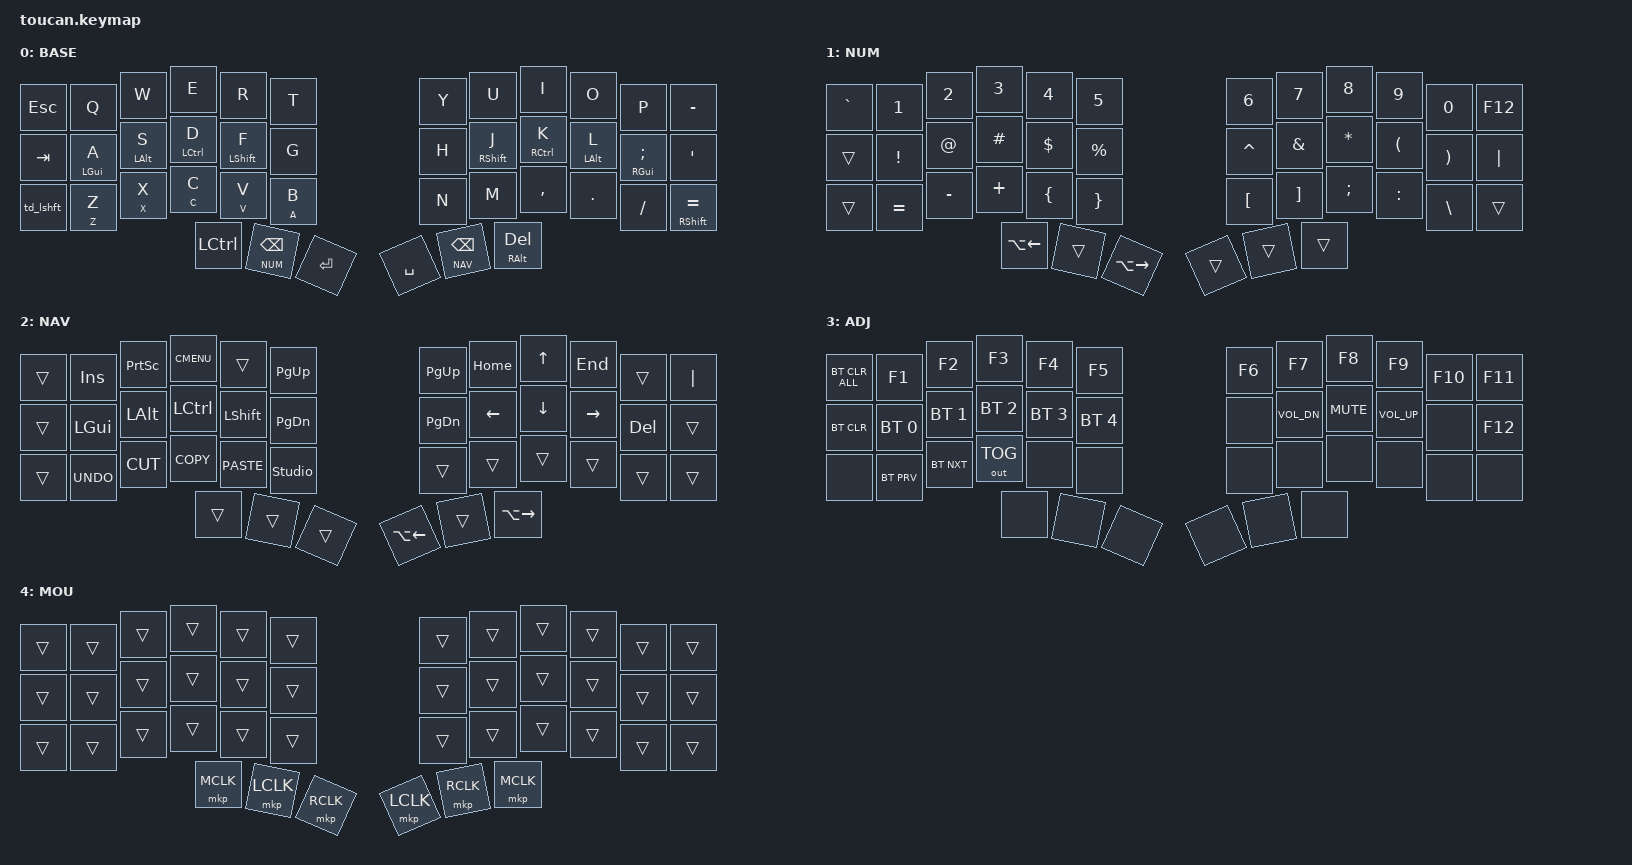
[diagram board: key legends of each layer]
#include <behaviors.dtsi>
#include <dt-bindings/zmk/keys.h>
#include <dt-bindings/zmk/bt.h>
#include <dt-bindings/zmk/outputs.h>
#include <dt-bindings/zmk/pointing.h>

#define BASE 0
#define NUM  1
#define NAV  2
#define ADJ  3

// Layer-tap: tap-then-hold within quick-tap repeats the tap key (BSPC on NUM and NAV) instead of holding the layer.
// Hold 170 ms (default 200) to activate NUM / NAV.
&lt {
    tapping-term-ms = <170>;
    quick-tap-ms = <175>;
};

/ {
    behaviors {
        td_lshft: tap_dance_left_shift {
            compatible = "zmk,behavior-tap-dance";
            #binding-cells = <0>;
            tapping-term-ms = <220>;
            bindings = <&kp LSHFT>, <&caps_word>;
        };

        // Right outer thumb: tap = DEL, hold = RALT.
        // Balanced: press+release another key while holding = modifier immediately (RALT+A = ą, Ctrl+C),
        // so fast AltGr / Ctrl shortcuts never turn into Delete.
        mt_bal: mod_tap_balanced {
            compatible = "zmk,behavior-hold-tap";
            #binding-cells = <2>;
            flavor = "balanced";
            tapping-term-ms = <200>;
            quick-tap-ms = <175>;   // tap, then hold = repeating DEL
            bindings = <&kp>, <&kp>;
        };

        // Home-row mods. Same timing as before; the only addition is the opposite-hand rule:
        // pressing a same-hand key before tapping-term resolves the HRM as a letter (no misfires on rolls).
        // Holding past tapping-term still gives the mod with any key (e.g. D + V = Ctrl+V).
        hml: homerow_mods_left {
            compatible = "zmk,behavior-hold-tap";
            #binding-cells = <2>;
            flavor = "tap-preferred";
            tapping-term-ms = <270>;
            quick-tap-ms = <175>;
            require-prior-idle-ms = <70>;
            // right hand + all thumbs
            hold-trigger-key-positions = <6 7 8 9 10 11 18 19 20 21 22 23 30 31 32 33 34 35 36 37 38 39 40 41>;
            bindings = <&kp>, <&kp>;
        };

        hmr: homerow_mods_right {
            compatible = "zmk,behavior-hold-tap";
            #binding-cells = <2>;
            flavor = "tap-preferred";
            tapping-term-ms = <270>;
            quick-tap-ms = <175>;
            require-prior-idle-ms = <70>;
            // left hand + all thumbs
            hold-trigger-key-positions = <0 1 2 3 4 5 12 13 14 15 16 17 24 25 26 27 28 29 36 37 38 39 40 41>;
            bindings = <&kp>, <&kp>;
        };

        // Sends Ctrl+<key> exactly once (no OS key-repeat while the key stays held).
        // macOS: replace LCTRL with LGUI.
        ctrl_tap: ctrl_tap {
            compatible = "zmk,behavior-macro-one-param";
            #binding-cells = <1>;
            bindings
                = <&macro_press &kp LCTRL>
                , <&macro_param_1to1>
                , <&macro_tap &kp MACRO_PLACEHOLDER>
                , <&macro_release &kp LCTRL>;
        };

        // tap = letter, hold 300 ms = Ctrl+key (RFC-0006).
        // Usage: &hctl <key sent with Ctrl on hold> <key typed on tap>
        hctl: hold_ctrl {
            compatible = "zmk,behavior-hold-tap";
            #binding-cells = <2>;
            flavor = "tap-preferred";      // Ctrl only after the full hold time; fast typing never triggers it
            tapping-term-ms = <300>;       // hold this long for Ctrl+key
            quick-tap-ms = <175>;          // tap, then tap-and-hold = letter repeats
            require-prior-idle-ms = <125>; // pressed right after another key = always the letter
            bindings = <&ctrl_tap>, <&kp>;
        };
    };

    // Combos carried over from the Sofle (positions: row 0 = 0..11, row 1 = 12..23, row 2 = 24..35, thumbs = 36..41)
    combos {
        compatible = "zmk,combos";
        // Backspace: P + -  (same keys as on the Sofle)
        combo_bspc {
            timeout-ms = <50>;
            key-positions = <10 11>;
            require-prior-idle-ms = <150>;   // don't fire mid-word (e.g. "top-level")
            layers = <BASE>;
            bindings = <&kp BSPC>;
        };
        // (Sofle ESC combo removed: position 0 is already ESC on the Toucan.)
    };

    conditional_layers {
        compatible = "zmk,conditional-layers";
        tri_layer {
            if-layers = <1 2>;
            then-layer = <3>;
        };
    };

    keymap {
        compatible = "zmk,keymap";

        base {
            display-name = "BASE";
            // Sofle MAIN layer without the number row / inner keys / outer thumbs.
            // | ESC   |  Q    |  W    |  E    |  R    |  T  |   |  Y    |  U    |  I    |  O    |  P    |  -        |
            // | TAB   | gui/A | alt/S | ctl/D | sft/F |  G  |   |  H    | sft/J | ctl/K | alt/L | gui/; |  '        |
            // | SHIFT |  Z    |  X    |  C    |  V    |  B  |   |  N    |  M    |  ,    |  .    |  /    | =/SHIFT   |
            //                       | CTRL  |NUM/BK | RET |   | SPACE |NAV/BK |RALT/DEL|
            // SHIFT: tap-dance, double tap = CAPS WORD.   Combo: P + - = BSPC
            // Hold Z/X/C/V/B 300 ms = Ctrl+Z / Ctrl+X / Ctrl+C / Ctrl+V / Ctrl+A (sent once).
            bindings = <
                &kp ESC   &kp Q       &kp W       &kp E        &kp R        &kp T     &kp Y     &kp U        &kp I        &kp O       &kp P          &kp MINUS
                &kp TAB   &hml LGUI A &hml LALT S &hml LCTRL D &hml LSHFT F &kp G     &kp H     &hmr RSHFT J &hmr RCTRL K &hmr LALT L &hmr RGUI SEMI &kp SQT
                &td_lshft &hctl Z Z   &hctl X X   &hctl C C    &hctl V V    &hctl A B &kp N     &kp M        &kp COMMA    &kp DOT     &kp FSLH       &mt RSHFT EQUAL
                                                  &kp LCTRL &lt NUM BSPC &kp RET &kp SPACE &lt NAV BSPC &mt_bal RALT DEL
            >;
        };

        num {
            display-name = "NUM";
            // Sofle NUM layer (left thumb), F-key row skipped.
            // |   `   |  1  |  2  |  3  |  4  |  5  |   |  6  |  7  |  8  |  9  |  0  | F12 |
            // |       |  !  |  @  |  #  |  $  |  %  |   |  ^  |  &  |  *  |  (  |  )  |  |  |
            // |       |  =  |  -  |  +  |  {  |  }  |   |  [  |  ]  |  ;  |  :  |  \  |     |
            //               | A(<-) |     | A(->) |   |     |     |     |
            bindings = <
                &kp GRAVE &kp N1    &kp N2    &kp N3       &kp N4    &kp N5          &kp N6    &kp N7   &kp N8    &kp N9    &kp N0   &kp F12
                &trans    &kp EXCL  &kp AT    &kp HASH     &kp DLLR  &kp PRCNT       &kp CARET &kp AMPS &kp ASTRK &kp LPAR  &kp RPAR &kp PIPE
                &trans    &kp EQUAL &kp MINUS &kp PLUS     &kp LBRC  &kp RBRC        &kp LBKT  &kp RBKT &kp SEMI  &kp COLON &kp BSLH &trans
                                                &kp LA(LEFT) &trans    &kp LA(RIGHT)   &trans    &trans   &trans
            >;
        };

        nav {
            display-name = "NAV";
            // Sofle NAV layer (right thumb, tap = BSPC), BT/media row skipped (BT + media moved to ADJ).
            // |       | INS  | PSCR | MENU  |       | PGUP   |   | PGUP | HOME  |  UP  |  END  |      |   |   |
            // |       | GUI  | ALT  | CTRL  | SHIFT | PGDN   |   | PGDN | LEFT  | DOWN | RIGHT | DEL  |       |
            // |       | UNDO | CUT  | COPY  | PASTE | UNLOCK |   |      |       |      |       |      |       |
            //                       |       |       |        |   | A(<-)|       | A(->)|
            bindings = <
                &trans &kp INS    &kp PSCRN &kp K_CMENU &trans      &kp PG_UP         &kp PG_UP    &kp HOME &kp UP        &kp END   &trans  &kp PIPE
                &trans &kp LGUI   &kp LALT  &kp LCTRL   &kp LSHFT   &kp PG_DN         &kp PG_DN    &kp LEFT &kp DOWN      &kp RIGHT &kp DEL &trans
                &trans &kp K_UNDO &kp K_CUT &kp K_COPY  &kp K_PASTE &studio_unlock    &trans       &trans   &trans        &trans    &trans  &trans
                                            &trans      &trans      &trans            &kp LA(LEFT) &trans   &kp LA(RIGHT)
            >;
        };

        adj {
            display-name = "ADJ";
            // Hold NUM + NAV.
            // |CLALL| F1  | F2  | F3  | F4  | F5  |   | F6  | F7  | F8  | F9  | F10 | F11 |
            // |BTCLR| BT0 | BT1 | BT2 | BT3 | BT4 |   |     |VOL- |MUTE |VOL+ |     | F12 |
            // |     |BTPRV|BTNXT|USB/BT|    |     |   |     |     |     |     |     |     |
            //                   |     |     |     |   |     |     |     |
            bindings = <
                &bt BT_CLR_ALL &kp F1     &kp F2       &kp F3       &kp F4       &kp F5         &kp F6 &kp F7 &kp F8 &kp F9 &kp F10 &kp F11
                &bt BT_CLR &bt BT_SEL 0 &bt BT_SEL 1 &bt BT_SEL 2 &bt BT_SEL 3 &bt BT_SEL 4   &none  &kp C_VOL_DN &kp C_MUTE &kp C_VOL_UP &none   &kp F12
            &none &bt BT_PRV &bt BT_NXT &out OUT_TOG &none  &none    &none  &none  &none  &none  &none   &none
                                    &none  &none  &none    &none  &none  &none
            >;
        };

        mouse {
            display-name = "MOU";
            bindings = <
                &trans &trans &trans &trans &trans &trans           &trans &trans &trans &trans &trans &trans
                &trans &trans &trans &trans &trans &trans           &trans &trans &trans &trans &trans &trans
                &trans &trans &trans &trans &trans &trans           &trans &trans &trans &trans &trans &trans
                            &mkp MCLK &mkp LCLK &mkp RCLK           &mkp LCLK &mkp RCLK &mkp MCLK
            >;
        };

        extra_2 {
                status = "reserved";
        };

        extra_3 {
                status = "reserved";
        };
    };
};
